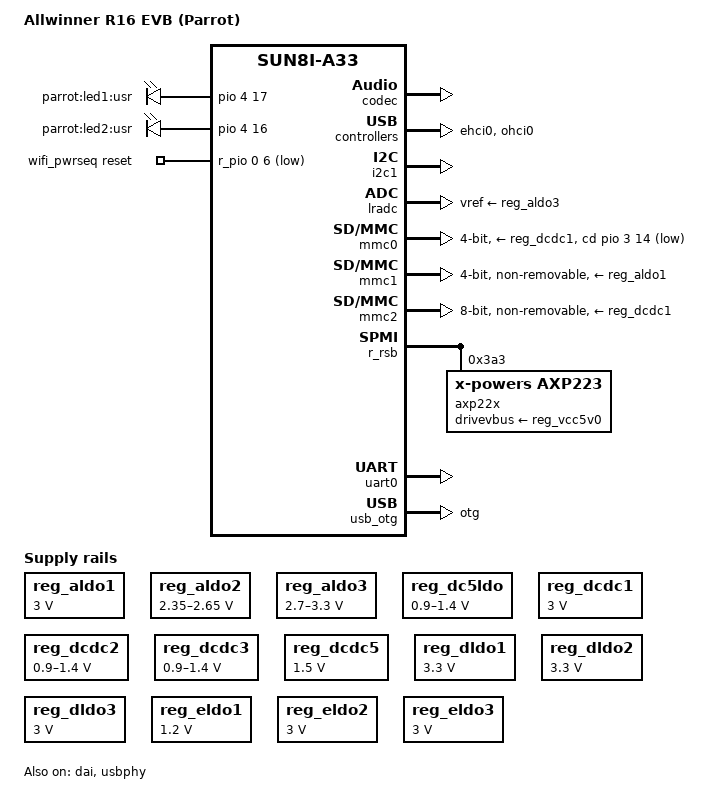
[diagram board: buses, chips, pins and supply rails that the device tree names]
/*
 * Copyright 2016 Quentin Schulz
 *
 * Quentin Schulz <quentin.schulz@free-electrons.com>
 *
 * This file is dual-licensed: you can use it either under the terms
 * of the GPL or the X11 license, at your option. Note that this dual
 * licensing only applies to this file, and not this project as a
 * whole.
 *
 *  a) This file is free software; you can redistribute it and/or
 *     modify it under the terms of the GNU General Public License as
 *     published by the Free Software Foundation; either version 2 of the
 *     License, or (at your option) any later version.
 *
 *     This file is distributed in the hope that it will be useful,
 *     but WITHOUT ANY WARRANTY; without even the implied warranty of
 *     MERCHANTABILITY or FITNESS FOR A PARTICULAR PURPOSE.  See the
 *     GNU General Public License for more details.
 *
 * Or, alternatively,
 *
 *  b) Permission is hereby granted, free of charge, to any person
 *     obtaining a copy of this software and associated documentation
 *     files (the "Software"), to deal in the Software without
 *     restriction, including without limitation the rights to use,
 *     copy, modify, merge, publish, distribute, sublicense, and/or
 *     sell copies of the Software, and to permit persons to whom the
 *     Software is furnished to do so, subject to the following
 *     conditions:
 *
 *     The above copyright notice and this permission notice shall be
 *     included in all copies or substantial portions of the Software.
 *
 *     THE SOFTWARE IS PROVIDED "AS IS", WITHOUT WARRANTY OF ANY KIND,
 *     EXPRESS OR IMPLIED, INCLUDING BUT NOT LIMITED TO THE WARRANTIES
 *     OF MERCHANTABILITY, FITNESS FOR A PARTICULAR PURPOSE AND
 *     NONINFRINGEMENT. IN NO EVENT SHALL THE AUTHORS OR COPYRIGHT
 *     HOLDERS BE LIABLE FOR ANY CLAIM, DAMAGES OR OTHER LIABILITY,
 *     WHETHER IN AN ACTION OF CONTRACT, TORT OR OTHERWISE, ARISING
 *     FROM, OUT OF OR IN CONNECTION WITH THE SOFTWARE OR THE USE OR
 *     OTHER DEALINGS IN THE SOFTWARE.
 */

/dts-v1/;
#include "sun8i-a33.dtsi"
#include "sunxi-common-regulators.dtsi"

#include <dt-bindings/gpio/gpio.h>
#include <dt-bindings/input/input.h>

/ {
	model = "Allwinner R16 EVB (Parrot)";
	compatible = "allwinner,parrot", "allwinner,sun8i-a33";

	aliases {
		serial0 = &uart0;
	};

	chosen {
		stdout-path = "serial0:115200n8";
	};

	leds {
		compatible = "gpio-leds";

		led-1 {
			label = "parrot:led1:usr";
			gpios = <&pio 4 17 GPIO_ACTIVE_HIGH>; /* PE17 */
		};

		led-2 {
			label = "parrot:led2:usr";
			gpios = <&pio 4 16 GPIO_ACTIVE_HIGH>; /* PE16 */
		};
	};

	wifi_pwrseq: wifi_pwrseq {
		compatible = "mmc-pwrseq-simple";
		reset-gpios = <&r_pio 0 6 GPIO_ACTIVE_LOW>; /* PL06 */
	};

};

&codec {
	status = "okay";
};

&dai {
	status = "okay";
};

&ehci0 {
	status = "okay";
};

&i2c1 {
	status = "okay";

	/*
	 * FIXME: An as-yet-unknown accelerometer is connected to this
	 * i2c bus.
	 */
};

&lradc {
	vref-supply = <&reg_aldo3>;
	status = "okay";

	button-190 {
		label = "V+";
		linux,code = <KEY_VOLUMEUP>;
		channel = <0>;
		voltage = <190000>;
	};

	button-390 {
		label = "V-";
		linux,code = <KEY_VOLUMEDOWN>;
		channel = <0>;
		voltage = <390000>;
	};

};

&mmc0 {
	vmmc-supply = <&reg_dcdc1>;
	cd-gpios = <&pio 3 14 GPIO_ACTIVE_LOW>; /* PD14 */
	bus-width = <4>;
	status = "okay";
};

&mmc1 {
	pinctrl-names = "default";
	pinctrl-0 = <&mmc1_pg_pins>;
	vmmc-supply = <&reg_aldo1>;
	mmc-pwrseq = <&wifi_pwrseq>;
	bus-width = <4>;
	non-removable;
	status = "okay";
};

&mmc2 {
	pinctrl-names = "default";
	pinctrl-0 = <&mmc2_8bit_pins>;
	vmmc-supply = <&reg_dcdc1>;
	bus-width = <8>;
	non-removable;
	cap-mmc-hw-reset;
	status = "okay";
};

&mmc2_8bit_pins {
	drive-strength = <40>;
};

&ohci0 {
	status = "okay";
};

&r_rsb {
	status = "okay";

	axp22x: pmic@3a3 {
		compatible = "x-powers,axp223";
		reg = <0x3a3>;
		interrupt-parent = <&r_intc>;
		interrupts = <GIC_SPI 32 IRQ_TYPE_LEVEL_LOW>;
		drivevbus-supply = <&reg_vcc5v0>;
		x-powers,drive-vbus-en;
	};
};

#include "axp223.dtsi"

&reg_aldo1 {
	regulator-always-on;
	regulator-min-microvolt = <3000000>;
	regulator-max-microvolt = <3000000>;
	regulator-name = "vcc-io";
};

&reg_aldo2 {
	regulator-always-on;
	regulator-min-microvolt = <2350000>;
	regulator-max-microvolt = <2650000>;
	regulator-name = "vdd-dll";
};

&reg_aldo3 {
	regulator-always-on;
	regulator-min-microvolt = <2700000>;
	regulator-max-microvolt = <3300000>;
	regulator-name = "vcc-pll-avcc";
};

&reg_dc5ldo {
	regulator-always-on;
	regulator-min-microvolt = <900000>;
	regulator-max-microvolt = <1400000>;
	regulator-name = "vdd-cpus";
};

&reg_dcdc1 {
	regulator-always-on;
	regulator-min-microvolt = <3000000>;
	regulator-max-microvolt = <3000000>;
	regulator-name = "vcc-3v0";
};

&reg_dcdc2 {
	regulator-always-on;
	regulator-min-microvolt = <900000>;
	regulator-max-microvolt = <1400000>;
	regulator-name = "vdd-sys";
};

&reg_dcdc3 {
	regulator-always-on;
	regulator-min-microvolt = <900000>;
	regulator-max-microvolt = <1400000>;
	regulator-name = "vdd-cpu";
};

&reg_dcdc5 {
	regulator-always-on;
	regulator-min-microvolt = <1500000>;
	regulator-max-microvolt = <1500000>;
	regulator-name = "vcc-dram";
};

&reg_dldo1 {
	/*
	 * TODO: WiFi chip needs dldo1 AND dldo2 to be on to be powered.
	 * Remove next line once it is possible to sync two regulators.
	 */
	regulator-always-on;
	regulator-min-microvolt = <3300000>;
	regulator-max-microvolt = <3300000>;
	regulator-name = "vcc-wifi0";
};

&reg_dldo2 {
	/*
	 * TODO: WiFi chip needs dldo1 AND dldo2 to be on to be powered.
	 * Remove next line once it is possible to sync two regulators.
	 */
	regulator-always-on;
	regulator-min-microvolt = <3300000>;
	regulator-max-microvolt = <3300000>;
	regulator-name = "vcc-wifi1";
};

&reg_dldo3 {
	regulator-min-microvolt = <3000000>;
	regulator-max-microvolt = <3000000>;
	regulator-name = "vcc-3v0-csi";
};

&reg_drivevbus {
	regulator-name = "usb0-vbus";
	status = "okay";
};

&reg_eldo1 {
	regulator-min-microvolt = <1200000>;
	regulator-max-microvolt = <1200000>;
	regulator-name = "vcc-1v2-hsic";
};

&reg_eldo2 {
	regulator-min-microvolt = <3000000>;
	regulator-max-microvolt = <3000000>;
	regulator-name = "vcc-dsp";
};

&reg_eldo3 {
	regulator-min-microvolt = <3000000>;
	regulator-max-microvolt = <3000000>;
	regulator-name = "eldo3";
};

&reg_usb1_vbus {
	gpio = <&pio 3 12 GPIO_ACTIVE_HIGH>; /* PD12 */
	status = "okay";
};

&sound {
	status = "okay";
};

&uart0 {
	pinctrl-names = "default";
	pinctrl-0 = <&uart0_pb_pins>;
	status = "okay";
};

&usb_otg {
	dr_mode = "otg";
	status = "okay";
};

&usb_power_supply {
	status = "okay";
};

&usbphy {
	status = "okay";
	usb0_vbus-supply = <&reg_drivevbus>;
	usb0_id_det-gpios = <&pio 3 10 (GPIO_ACTIVE_HIGH | GPIO_PULL_UP)>; /* PD10 */
	usb0_vbus_power-supply = <&usb_power_supply>;
	usb1_vbus-supply = <&reg_usb1_vbus>;
};
